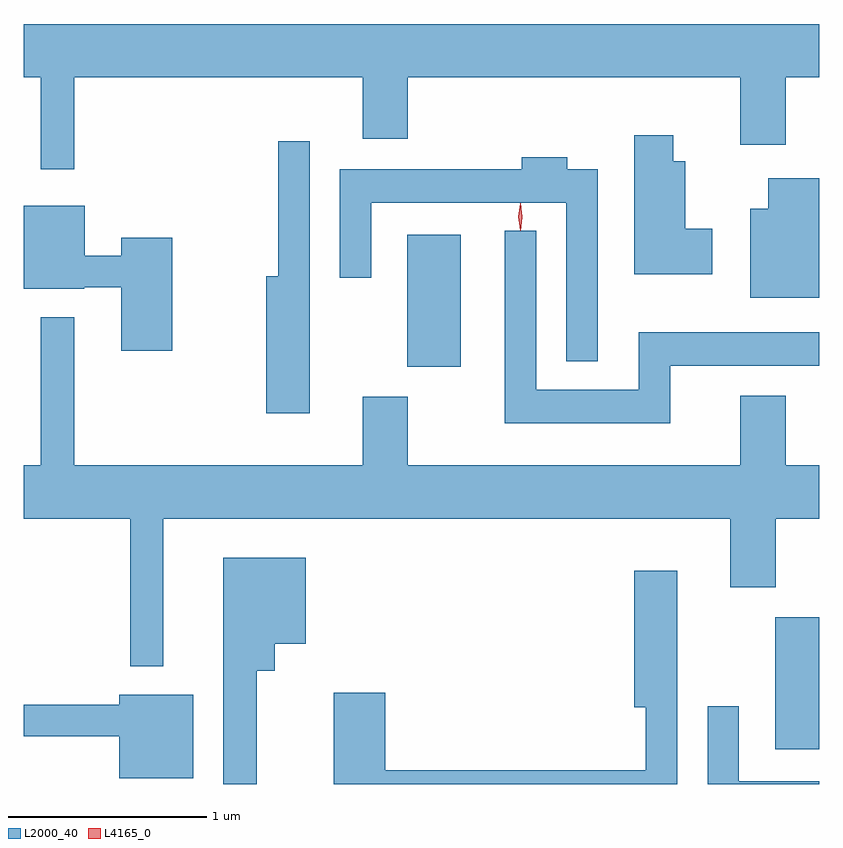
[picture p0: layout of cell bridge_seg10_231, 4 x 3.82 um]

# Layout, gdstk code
import gdstk
lib = gdstk.Library(unit=1e-6, precision=1e-09)
def R(c, l, rs):  # rectangles x0, y0, x1, y1
    for r in rs: c.add(gdstk.rectangle(r[:2], r[2:], *l))
def P(c, l, *ps):  # polygons
    for p in ps: c.add(gdstk.Polygon(p, *l))
L2000_40 = (2000, 40)
L4165_0 = (4165, 0)

bridge_seg10_231 = lib.new_cell('bridge_seg10_231')
R(bridge_seg10_231, L2000_40, [(1801.456,2099.436,1801.677,2100.099), (1799.606,2101.361,1799.874,2102.024)])
P(bridge_seg10_231, L2000_40, [(1797.929,2102.816),(1799.381,2102.816),(1799.381,2102.506),(1799.609,2102.506),(1799.609,2102.816),(1801.281,2102.816),(1801.281,2102.476),(1801.509,2102.476),(1801.509,2102.816),(1801.677,2102.816),(1801.677,2103.084),(1797.677,2103.084),(1797.677,2102.816),(1797.761,2102.816),(1797.761,2102.353),(1797.929,2102.353)],
  [(1801.139,2102.054),(1801.004,2102.054),(1801.004,2102.394),(1800.944,2102.394),(1800.944,2102.524),(1800.746,2102.524),(1800.746,2101.826),(1801.139,2101.826)],
  [(1799.114,2102.493),(1798.956,2102.493),(1798.956,2101.814),(1798.896,2101.814),(1798.896,2101.126),(1799.114,2101.126)],
  [(1800.564,2102.354),(1800.409,2102.354),(1800.409,2102.414),(1800.181,2102.414),(1800.181,2102.354),(1799.266,2102.354),(1799.266,2101.808),(1799.424,2101.808),(1799.424,2102.186),(1800.406,2102.186),(1800.406,2101.388),(1800.564,2101.388)],
  [(1801.677,2102.309),(1801.421,2102.309),(1801.421,2102.154),(1801.331,2102.154),(1801.331,2101.706),(1801.677,2101.706)],
  [(1798.424,2102.009),(1798.166,2102.009),(1798.166,2101.919),(1797.984,2101.919),(1797.984,2102.169),(1797.677,2102.169),(1797.677,2101.751),(1797.98,2101.751),(1797.98,2101.761),(1798.166,2101.761),(1798.166,2101.441),(1798.424,2101.441)],
  [(1800.929,2101.366),(1801.677,2101.366),(1801.677,2101.534),(1800.771,2101.534),(1800.771,2101.244),(1800.254,2101.244),(1800.254,2102.043),(1800.096,2102.043),(1800.096,2101.076),(1800.929,2101.076)],
  [(1798.379,2100.596),(1801.231,2100.596),(1801.231,2100.251),(1801.459,2100.251),(1801.459,2100.596),(1801.677,2100.596),(1801.677,2100.864),(1801.509,2100.864),(1801.509,2101.214),(1801.281,2101.214),(1801.281,2100.864),(1799.609,2100.864),(1799.609,2101.209),(1799.381,2101.209),(1799.381,2100.864),(1797.929,2100.864),(1797.929,2101.608),(1797.761,2101.608),(1797.761,2100.864),(1797.677,2100.864),(1797.677,2100.596),(1798.211,2100.596),(1798.211,2099.853),(1798.379,2099.853)],
  [(1798.849,2099.831),(1798.939,2099.831),(1798.939,2099.966),(1799.094,2099.966),(1799.094,2100.399),(1798.681,2100.399),(1798.681,2099.261),(1798.849,2099.261)],
  [(1800.964,2100.334),(1800.746,2100.334),(1800.746,2099.646),(1800.806,2099.646),(1800.806,2099.329),(1799.494,2099.329),(1799.494,2099.719),(1799.236,2099.719),(1799.236,2099.261),(1800.964,2099.261)],
  [(1798.529,2099.709),(1798.156,2099.709),(1798.156,2099.659),(1797.677,2099.659),(1797.677,2099.501),(1798.156,2099.501),(1798.156,2099.291),(1798.529,2099.291)],
  [(1801.677,2099.274),(1801.274,2099.274),(1801.274,2099.653),(1801.116,2099.653),(1801.116,2099.261),(1801.677,2099.261)])
P(bridge_seg10_231, L4165_0, [(1800.174,2102.047),(1800.174,2102.048),(1800.164,2102.114),(1800.174,2102.18),(1800.174,2102.18),(1800.175,2102.18),(1800.184,2102.114),(1800.175,2102.048)],
  [(1800.174,2102.044),(1800.165,2102.113),(1800.174,2102.182),(1800.175,2102.183),(1800.175,2102.182),(1800.185,2102.113),(1800.175,2102.044),(1800.175,2102.044)])

lib.write_gds('bridge_seg10_231.gds')
